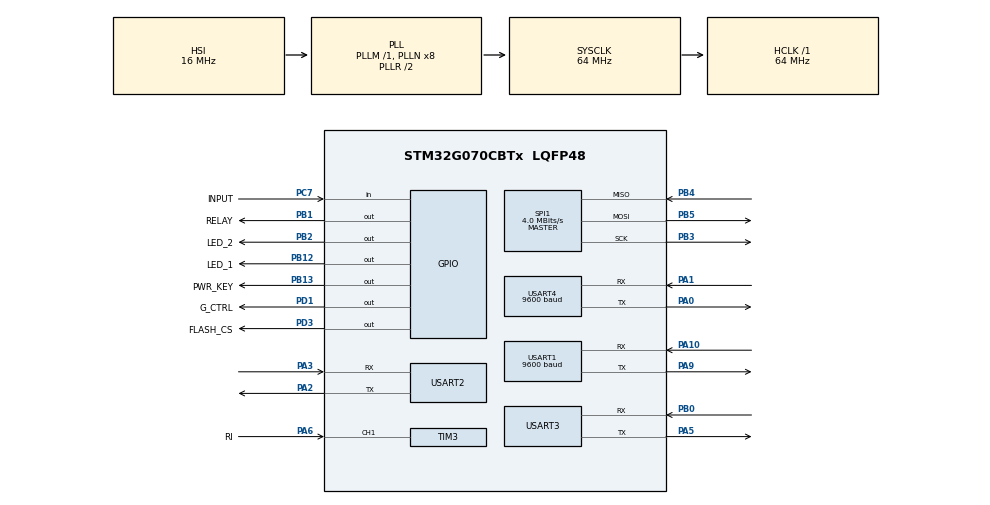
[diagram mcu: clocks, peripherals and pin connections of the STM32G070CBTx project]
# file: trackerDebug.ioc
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Dma.Request0=TIM3_CH1
Dma.TIM3_CH1.0.Direction=DMA_PERIPH_TO_MEMORY
Dma.TIM3_CH1.0.EventEnable=DISABLE
Dma.TIM3_CH1.0.Instance=DMA1_Channel1
Dma.TIM3_CH1.0.MemDataAlignment=DMA_MDATAALIGN_HALFWORD
Dma.TIM3_CH1.0.MemInc=DMA_MINC_ENABLE
Dma.TIM3_CH1.0.Mode=DMA_CIRCULAR
Dma.TIM3_CH1.0.PeriphDataAlignment=DMA_PDATAALIGN_HALFWORD
Dma.TIM3_CH1.0.PeriphInc=DMA_PINC_DISABLE
Dma.TIM3_CH1.0.Polarity=HAL_DMAMUX_REQ_GEN_RISING
Dma.TIM3_CH1.0.Priority=DMA_PRIORITY_LOW
Dma.TIM3_CH1.0.RequestNumber=1
Dma.TIM3_CH1.0.SignalID=NONE
Dma.TIM3_CH1.0.SyncEnable=DISABLE
Dma.TIM3_CH1.0.SyncPolarity=HAL_DMAMUX_SYNC_NO_EVENT
Dma.TIM3_CH1.0.SyncRequestNumber=1
Dma.TIM3_CH1.0.SyncSignalID=NONE
Mcu.Family=STM32G0
Mcu.Name=STM32G070CBTx
Mcu.Package=LQFP48
NVIC.DMA1_Channel1_IRQn=true\:0\:0\:false\:false\:true\:false\:true\:true
NVIC.SPI1_IRQn=true\:3\:0\:true\:false\:true\:true\:true\:true
NVIC.TIM14_IRQn=true\:3\:0\:true\:false\:true\:true\:true\:true
NVIC.TIM16_IRQn=true\:3\:0\:true\:false\:true\:true\:true\:true
NVIC.TIM17_IRQn=true\:3\:0\:true\:false\:true\:true\:true\:true
NVIC.TIM3_IRQn=true\:3\:0\:true\:false\:true\:true\:true\:true
NVIC.USART1_IRQn=true\:3\:0\:true\:false\:true\:true\:true\:true
NVIC.USART2_IRQn=true\:3\:0\:true\:false\:true\:true\:true\:true
NVIC.USART3_4_IRQn=true\:3\:0\:true\:false\:true\:true\:true\:true
PA0.Mode=Asynchronous
PA0.Signal=USART4_TX
PA1.Mode=Asynchronous
PA1.Signal=USART4_RX
PA10.Mode=Asynchronous
PA10.Signal=USART1_RX
PA13.Mode=Serial_Wire
PA13.Signal=SYS_SWDIO
PA14-BOOT0.Mode=Serial_Wire
PA14-BOOT0.Signal=SYS_SWCLK
PA2.Mode=Asynchronous
PA2.Signal=USART2_TX
PA3.Mode=Asynchronous
PA3.Signal=USART2_RX
PA5.Mode=Asynchronous
PA5.Signal=USART3_TX
PA6.GPIO_Label=RI
PA6.Signal=S_TIM3_CH1
PA9.Mode=Asynchronous
PA9.Signal=USART1_TX
PB0.Mode=Asynchronous
PB0.Signal=USART3_RX
PB1.GPIO_Label=RELAY
PB1.PinState=GPIO_PIN_RESET
PB1.Signal=GPIO_Output
PB12.GPIO_Label=LED_1
PB12.Signal=GPIO_Output
PB13.GPIO_Label=PWR_KEY
PB13.PinState=GPIO_PIN_RESET
PB13.Signal=GPIO_Output
PB2.GPIO_Label=LED_2
PB2.Signal=GPIO_Output
PB3.Mode=Full_Duplex_Master
PB3.Signal=SPI1_SCK
PB4.Mode=Full_Duplex_Master
PB4.Signal=SPI1_MISO
PB5.Mode=Full_Duplex_Master
PB5.Signal=SPI1_MOSI
PC7.GPIO_Label=INPUT
PC7.Signal=GPIO_Input
PD1.GPIO_Label=G_CTRL
PD1.PinState=GPIO_PIN_SET
PD1.Signal=GPIO_Output
PD3.GPIO_Label=FLASH_CS
PD3.Signal=GPIO_Output
PF0-OSC_IN\ (PF0).Mode=HSE-External-Oscillator
PF0-OSC_IN\ (PF0).Signal=RCC_OSC_IN
PF1-OSC_OUT\ (PF1).Mode=HSE-External-Oscillator
PF1-OSC_OUT\ (PF1).Signal=RCC_OSC_OUT
ProjectManager.HeapSize=0x200
ProjectManager.StackSize=0x400
ProjectManager.TargetToolchain=STM32CubeIDE
RCC.ADCFreq_Value=64000000
RCC.AHBFreq_Value=64000000
RCC.CortexFreq_Value=64000000
RCC.EXTERNAL_CLOCK_VALUE=48000
RCC.HCLKFreq_Value=64000000
RCC.HSE_VALUE=8000000
RCC.HSI_VALUE=16000000
RCC.LSE_VALUE=32768
RCC.SYSCLKFreq_VALUE=64000000
RCC.SYSCLKSource=RCC_SYSCLKSOURCE_PLLCLK
RCC.VCOOutputFreq_Value=128000000
SH.S_TIM3_CH1.0=TIM3_CH1,Input_Capture1_from_TI1
SPI1.BaudRatePrescaler=SPI_BAUDRATEPRESCALER_16
SPI1.CalculateBaudRate=4.0 MBits/s
SPI1.DataSize=SPI_DATASIZE_8BIT
SPI1.Direction=SPI_DIRECTION_2LINES
SPI1.Mode=SPI_MODE_MASTER
SPI1.VirtualType=VM_MASTER
TIM14.AutoReloadPreload=TIM_AUTORELOAD_PRELOAD_ENABLE
TIM14.Period=1000
TIM14.Prescaler=6400
TIM16.AutoReloadPreload=TIM_AUTORELOAD_PRELOAD_ENABLE
TIM16.Period=1000-1
TIM16.Prescaler=6400
TIM17.AutoReloadPreload=TIM_AUTORELOAD_PRELOAD_ENABLE
TIM17.Period=1000
TIM17.Prescaler=6400
TIM3.AutoReloadPreload=TIM_AUTORELOAD_PRELOAD_ENABLE
TIM3.Channel-Input_Capture1_from_TI1=TIM_CHANNEL_1
TIM3.ICPolarity_CH1=TIM_INPUTCHANNELPOLARITY_BOTHEDGE
TIM3.Prescaler=640
USART1.BaudRate=9600
USART1.VirtualMode-Asynchronous=VM_ASYNC
USART2.VirtualMode-Asynchronous=VM_ASYNC
USART3.VirtualMode-Asynchronous=VM_ASYNC
USART4.BaudRate=9600
USART4.VirtualMode-Asynchronous=VM_ASYNC
VP_TIM14_VS_ClockSourceINT.Mode=Enable_Timer
VP_TIM16_VS_ClockSourceINT.Mode=Enable_Timer
VP_TIM17_VS_ClockSourceINT.Mode=Enable_Timer
board=custom

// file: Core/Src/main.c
/* USER CODE BEGIN Header */
/**
  ******************************************************************************
  * @file           : main.c
  * @brief          : Main program body
  ******************************************************************************
  * @attention
  *
  * Copyright (c) 2023 STMicroelectronics.
  * All rights reserved.
  *
  * This software is licensed under terms that can be found in the LICENSE file
  * in the root directory of this software component.
  * If no LICENSE file comes with this software, it is provided AS-IS.
  *
  ******************************************************************************
  */
/* USER CODE END Header */
#include "main.h"

/* USER CODE BEGIN Includes */
#include "w25qxx.h"
/* USER CODE END Includes */

/* USER CODE BEGIN PTD */
#define TIMCLOCK   64000000
#define PRESCALAR  640
#define NUMVAL 2
/* USER CODE END PTD */

/* USER CODE BEGIN PD */
uint8_t buf1[1]; //at
uint8_t buf2[1]; //gnss
uint8_t buf3[1]; //debug
uint16_t resTimeout = 8;
uint16_t cnnt = 0;
uint16_t gCnnt = 0;
uint32_t bs;
/* USER CODE END PD */

SPI_HandleTypeDef hspi1;

TIM_HandleTypeDef htim3;
TIM_HandleTypeDef htim14;
TIM_HandleTypeDef htim16;
TIM_HandleTypeDef htim17;
DMA_HandleTypeDef hdma_tim3_ch1;

UART_HandleTypeDef huart1;
UART_HandleTypeDef huart2;
UART_HandleTypeDef huart3;
UART_HandleTypeDef huart4;

void SystemClock_Config(void);
static void MX_GPIO_Init(void);
static void MX_DMA_Init(void);
static void MX_USART1_UART_Init(void);
static void MX_USART2_UART_Init(void);
static void MX_USART4_UART_Init(void);
static void MX_TIM16_Init(void);
static void MX_SPI1_Init(void);
static void MX_TIM3_Init(void);
static void MX_USART3_UART_Init(void);
static void MX_TIM14_Init(void);
static void MX_TIM17_Init(void);

/* USER CODE BEGIN 0 */
//--------------INPUT CAPTURE RING-------------------
uint16_t Difference = 0;
int Is_First_Captured = 0;
float frequency = 0;
uint16_t usWidth = 0;
uint8_t gotIndication = 0;
uint16_t vals[NUMVAL];
//--------------INPUT CAPTURE RING-------------------
/* USER CODE END 0 */

int main(void)
{

  /* MCU Configuration--------------------------------------------------------*/

  /* Reset of all peripherals, Initializes the Flash interface and the Systick. */
  HAL_Init();

  /* Configure the system clock */
  SystemClock_Config();

  /* Initialize all configured peripherals */
  MX_GPIO_Init();
  MX_DMA_Init();
  MX_USART1_UART_Init();
  MX_USART2_UART_Init();
  MX_USART4_UART_Init();
  MX_TIM16_Init();
  MX_SPI1_Init();
  MX_TIM3_Init();
  MX_USART3_UART_Init();
  MX_TIM14_Init();
  MX_TIM17_Init();
  /* USER CODE BEGIN 2 */

//W25qxx_Init();

HAL_UART_Receive_IT(&huart1, buf1, 1);
HAL_UART_Receive_IT(&huart2, buf2, 1);
HAL_UART_Receive_IT(&huart4, buf3, 1);

// TOGGLE BLUE LED------------------------------------
HAL_GPIO_WritePin(LED_2_GPIO_Port, LED_2_Pin, 1);
HAL_Delay(1000);
HAL_GPIO_WritePin(LED_2_GPIO_Port, LED_2_Pin, 0);
//-----------------------------------------------------

//
////------Turn ON/OFF QUECTEL---------------------------------
//HAL_GPIO_WritePin(PWR_KEY_GPIO_Port, PWR_KEY_Pin, 1);
//HAL_Delay(1000);
//HAL_GPIO_WritePin(PWR_KEY_GPIO_Port, PWR_KEY_Pin, 0);
//-----------------------------------------------------------

//---------------TIMERS INIT-----------------------------------
//HAL_TIM_Base_Start_IT(&htim3);	//input capture timer.
//HAL_TIM_Base_Start_IT(&htim14);	//input capture timer.
//HAL_TIM_Base_Start_IT(&htim16);	//input capture timer.
//HAL_TIM_Base_Start_IT(&htim17);	//AT port timer.
//-------------------------------------------------------------

//--------------DMA INIT---------------------------------------
//HAL_TIM_IC_Start_DMA(&htim3, TIM_CHANNEL_1, vals, NUMVAL);
//-------------------------------------------------------------

//HAL_UART_Transmit(&huart1, "AT/r/n", 4, 100);

  /* USER CODE END 2 */

  /* Infinite loop */
  /* USER CODE BEGIN WHILE */
  while (1)
  {
//	  HAL_GPIO_WritePin(RELAY_GPIO_Port, RELAY_Pin, 1);
//	  HAL_Delay(5000);
//	  HAL_GPIO_WritePin(RELAY_GPIO_Port, RELAY_Pin, 0);
//	  HAL_Delay(2000);

    /* USER CODE END WHILE */

  }
}

void SystemClock_Config(void)
{
  RCC_OscInitTypeDef RCC_OscInitStruct = {0};
  RCC_ClkInitTypeDef RCC_ClkInitStruct = {0};

  /** Configure the main internal regulator output voltage
  */
  HAL_PWREx_ControlVoltageScaling(PWR_REGULATOR_VOLTAGE_SCALE1);

  /** Initializes the RCC Oscillators according to the specified parameters
  * in the RCC_OscInitTypeDef structure.
  */
  RCC_OscInitStruct.OscillatorType = RCC_OSCILLATORTYPE_HSI;
  RCC_OscInitStruct.HSIState = RCC_HSI_ON;
  RCC_OscInitStruct.HSIDiv = RCC_HSI_DIV1;
  RCC_OscInitStruct.HSICalibrationValue = RCC_HSICALIBRATION_DEFAULT;
  RCC_OscInitStruct.PLL.PLLState = RCC_PLL_ON;
  RCC_OscInitStruct.PLL.PLLSource = RCC_PLLSOURCE_HSI;
  RCC_OscInitStruct.PLL.PLLM = RCC_PLLM_DIV1;
  RCC_OscInitStruct.PLL.PLLN = 8;
  RCC_OscInitStruct.PLL.PLLP = RCC_PLLP_DIV2;
  RCC_OscInitStruct.PLL.PLLR = RCC_PLLR_DIV2;
  if (HAL_RCC_OscConfig(&RCC_OscInitStruct) != HAL_OK)
  {
    Error_Handler();
  }

  /** Initializes the CPU, AHB and APB buses clocks
  */
  RCC_ClkInitStruct.ClockType = RCC_CLOCKTYPE_HCLK|RCC_CLOCKTYPE_SYSCLK
                              |RCC_CLOCKTYPE_PCLK1;
  RCC_ClkInitStruct.SYSCLKSource = RCC_SYSCLKSOURCE_PLLCLK;
  RCC_ClkInitStruct.AHBCLKDivider = RCC_SYSCLK_DIV1;
  RCC_ClkInitStruct.APB1CLKDivider = RCC_HCLK_DIV1;

  if (HAL_RCC_ClockConfig(&RCC_ClkInitStruct, FLASH_LATENCY_2) != HAL_OK)
  {
    Error_Handler();
  }
}

static void MX_SPI1_Init(void)
{

  /* SPI1 parameter configuration*/
  hspi1.Instance = SPI1;
  hspi1.Init.Mode = SPI_MODE_MASTER;
  hspi1.Init.Direction = SPI_DIRECTION_2LINES;
  hspi1.Init.DataSize = SPI_DATASIZE_8BIT;
  hspi1.Init.CLKPolarity = SPI_POLARITY_LOW;
  hspi1.Init.CLKPhase = SPI_PHASE_1EDGE;
  hspi1.Init.NSS = SPI_NSS_SOFT;
  hspi1.Init.BaudRatePrescaler = SPI_BAUDRATEPRESCALER_16;
  hspi1.Init.FirstBit = SPI_FIRSTBIT_MSB;
  hspi1.Init.TIMode = SPI_TIMODE_DISABLE;
  hspi1.Init.CRCCalculation = SPI_CRCCALCULATION_DISABLE;
  hspi1.Init.CRCPolynomial = 7;
  hspi1.Init.CRCLength = SPI_CRC_LENGTH_DATASIZE;
  hspi1.Init.NSSPMode = SPI_NSS_PULSE_ENABLE;
  if (HAL_SPI_Init(&hspi1) != HAL_OK)
  {
    Error_Handler();
  }

}

static void MX_TIM3_Init(void)
{

  TIM_MasterConfigTypeDef sMasterConfig = {0};
  TIM_IC_InitTypeDef sConfigIC = {0};

  htim3.Instance = TIM3;
  htim3.Init.Prescaler = 640;
  htim3.Init.CounterMode = TIM_COUNTERMODE_UP;
  htim3.Init.Period = 65535;
  htim3.Init.ClockDivision = TIM_CLOCKDIVISION_DIV1;
  htim3.Init.AutoReloadPreload = TIM_AUTORELOAD_PRELOAD_ENABLE;
  if (HAL_TIM_IC_Init(&htim3) != HAL_OK)
  {
    Error_Handler();
  }
  sMasterConfig.MasterOutputTrigger = TIM_TRGO_RESET;
  sMasterConfig.MasterSlaveMode = TIM_MASTERSLAVEMODE_DISABLE;
  if (HAL_TIMEx_MasterConfigSynchronization(&htim3, &sMasterConfig) != HAL_OK)
  {
    Error_Handler();
  }
  sConfigIC.ICPolarity = TIM_INPUTCHANNELPOLARITY_BOTHEDGE;
  sConfigIC.ICSelection = TIM_ICSELECTION_DIRECTTI;
  sConfigIC.ICPrescaler = TIM_ICPSC_DIV1;
  sConfigIC.ICFilter = 0;
  if (HAL_TIM_IC_ConfigChannel(&htim3, &sConfigIC, TIM_CHANNEL_1) != HAL_OK)
  {
    Error_Handler();
  }

}

static void MX_TIM14_Init(void)
{

  htim14.Instance = TIM14;
  htim14.Init.Prescaler = 6400;
  htim14.Init.CounterMode = TIM_COUNTERMODE_UP;
  htim14.Init.Period = 1000;
  htim14.Init.ClockDivision = TIM_CLOCKDIVISION_DIV1;
  htim14.Init.AutoReloadPreload = TIM_AUTORELOAD_PRELOAD_ENABLE;
  if (HAL_TIM_Base_Init(&htim14) != HAL_OK)
  {
    Error_Handler();
  }

}

static void MX_TIM16_Init(void)
{

  htim16.Instance = TIM16;
  htim16.Init.Prescaler = 6400;
  htim16.Init.CounterMode = TIM_COUNTERMODE_UP;
  htim16.Init.Period = 1000-1;
  htim16.Init.ClockDivision = TIM_CLOCKDIVISION_DIV1;
  htim16.Init.RepetitionCounter = 0;
  htim16.Init.AutoReloadPreload = TIM_AUTORELOAD_PRELOAD_ENABLE;
  if (HAL_TIM_Base_Init(&htim16) != HAL_OK)
  {
    Error_Handler();
  }

}

static void MX_TIM17_Init(void)
{

  htim17.Instance = TIM17;
  htim17.Init.Prescaler = 6400;
  htim17.Init.CounterMode = TIM_COUNTERMODE_UP;
  htim17.Init.Period = 1000;
  htim17.Init.ClockDivision = TIM_CLOCKDIVISION_DIV1;
  htim17.Init.RepetitionCounter = 0;
  htim17.Init.AutoReloadPreload = TIM_AUTORELOAD_PRELOAD_ENABLE;
  if (HAL_TIM_Base_Init(&htim17) != HAL_OK)
  {
    Error_Handler();
  }

}

static void MX_USART1_UART_Init(void)
{

  huart1.Instance = USART1;
  huart1.Init.BaudRate = 9600;
  huart1.Init.WordLength = UART_WORDLENGTH_8B;
  huart1.Init.StopBits = UART_STOPBITS_1;
  huart1.Init.Parity = UART_PARITY_NONE;
  huart1.Init.Mode = UART_MODE_TX_RX;
  huart1.Init.HwFlowCtl = UART_HWCONTROL_NONE;
  huart1.Init.OverSampling = UART_OVERSAMPLING_16;
  huart1.Init.OneBitSampling = UART_ONE_BIT_SAMPLE_DISABLE;
  huart1.Init.ClockPrescaler = UART_PRESCALER_DIV1;
  huart1.AdvancedInit.AdvFeatureInit = UART_ADVFEATURE_NO_INIT;
  if (HAL_UART_Init(&huart1) != HAL_OK)
  {
    Error_Handler();
  }
  if (HAL_UARTEx_SetTxFifoThreshold(&huart1, UART_TXFIFO_THRESHOLD_1_8) != HAL_OK)
  {
    Error_Handler();
  }
  if (HAL_UARTEx_SetRxFifoThreshold(&huart1, UART_RXFIFO_THRESHOLD_1_8) != HAL_OK)
  {
    Error_Handler();
  }
  if (HAL_UARTEx_DisableFifoMode(&huart1) != HAL_OK)
  {
    Error_Handler();
  }

}

static void MX_USART2_UART_Init(void)
{

  huart2.Instance = USART2;
  huart2.Init.BaudRate = 115200;
  huart2.Init.WordLength = UART_WORDLENGTH_8B;
  huart2.Init.StopBits = UART_STOPBITS_1;
  huart2.Init.Parity = UART_PARITY_NONE;
  huart2.Init.Mode = UART_MODE_TX_RX;
  huart2.Init.HwFlowCtl = UART_HWCONTROL_NONE;
  huart2.Init.OverSampling = UART_OVERSAMPLING_16;
  huart2.Init.OneBitSampling = UART_ONE_BIT_SAMPLE_DISABLE;
  huart2.Init.ClockPrescaler = UART_PRESCALER_DIV1;
  huart2.AdvancedInit.AdvFeatureInit = UART_ADVFEATURE_NO_INIT;
  if (HAL_UART_Init(&huart2) != HAL_OK)
  {
    Error_Handler();
  }
  if (HAL_UARTEx_SetTxFifoThreshold(&huart2, UART_TXFIFO_THRESHOLD_1_8) != HAL_OK)
  {
    Error_Handler();
  }
  if (HAL_UARTEx_SetRxFifoThreshold(&huart2, UART_RXFIFO_THRESHOLD_1_8) != HAL_OK)
  {
    Error_Handler();
  }
  if (HAL_UARTEx_DisableFifoMode(&huart2) != HAL_OK)
  {
    Error_Handler();
  }

}

static void MX_USART3_UART_Init(void)
{

  huart3.Instance = USART3;
  huart3.Init.BaudRate = 115200;
  huart3.Init.WordLength = UART_WORDLENGTH_8B;
  huart3.Init.StopBits = UART_STOPBITS_1;
  huart3.Init.Parity = UART_PARITY_NONE;
  huart3.Init.Mode = UART_MODE_TX_RX;
  huart3.Init.HwFlowCtl = UART_HWCONTROL_NONE;
  huart3.Init.OverSampling = UART_OVERSAMPLING_16;
  huart3.Init.OneBitSampling = UART_ONE_BIT_SAMPLE_DISABLE;
  huart3.Init.ClockPrescaler = UART_PRESCALER_DIV1;
  huart3.AdvancedInit.AdvFeatureInit = UART_ADVFEATURE_NO_INIT;
  if (HAL_UART_Init(&huart3) != HAL_OK)
  {
    Error_Handler();
  }

}

static void MX_USART4_UART_Init(void)
{

  huart4.Instance = USART4;
  huart4.Init.BaudRate = 9600;
  huart4.Init.WordLength = UART_WORDLENGTH_8B;
  huart4.Init.StopBits = UART_STOPBITS_1;
  huart4.Init.Parity = UART_PARITY_NONE;
  huart4.Init.Mode = UART_MODE_TX_RX;
  huart4.Init.HwFlowCtl = UART_HWCONTROL_NONE;
  huart4.Init.OverSampling = UART_OVERSAMPLING_16;
  huart4.Init.OneBitSampling = UART_ONE_BIT_SAMPLE_DISABLE;
  huart4.Init.ClockPrescaler = UART_PRESCALER_DIV1;
  huart4.AdvancedInit.AdvFeatureInit = UART_ADVFEATURE_NO_INIT;
  if (HAL_UART_Init(&huart4) != HAL_OK)
  {
    Error_Handler();
  }

}

static void MX_DMA_Init(void)
{

  /* DMA controller clock enable */
  __HAL_RCC_DMA1_CLK_ENABLE();

  /* DMA interrupt init */
  /* DMA1_Channel1_IRQn interrupt configuration */
  HAL_NVIC_SetPriority(DMA1_Channel1_IRQn, 0, 0);
  HAL_NVIC_EnableIRQ(DMA1_Channel1_IRQn);

}

static void MX_GPIO_Init(void)
{
  GPIO_InitTypeDef GPIO_InitStruct = {0};

  /* GPIO Ports Clock Enable */
  __HAL_RCC_GPIOF_CLK_ENABLE();
  __HAL_RCC_GPIOA_CLK_ENABLE();
  __HAL_RCC_GPIOB_CLK_ENABLE();
  __HAL_RCC_GPIOC_CLK_ENABLE();
  __HAL_RCC_GPIOD_CLK_ENABLE();

  /*Configure GPIO pin Output Level */
  HAL_GPIO_WritePin(GPIOB, RELAY_Pin|LED_2_Pin|LED_1_Pin|PWR_KEY_Pin, GPIO_PIN_RESET);

  /*Configure GPIO pin Output Level */
  HAL_GPIO_WritePin(G_CTRL_GPIO_Port, G_CTRL_Pin, GPIO_PIN_SET);

  /*Configure GPIO pin Output Level */
  HAL_GPIO_WritePin(FLASH_CS_GPIO_Port, FLASH_CS_Pin, GPIO_PIN_RESET);

  /*Configure GPIO pins : RELAY_Pin LED_2_Pin LED_1_Pin PWR_KEY_Pin */
  GPIO_InitStruct.Pin = RELAY_Pin|LED_2_Pin|LED_1_Pin|PWR_KEY_Pin;
  GPIO_InitStruct.Mode = GPIO_MODE_OUTPUT_PP;
  GPIO_InitStruct.Pull = GPIO_NOPULL;
  GPIO_InitStruct.Speed = GPIO_SPEED_FREQ_LOW;
  HAL_GPIO_Init(GPIOB, &GPIO_InitStruct);

  /*Configure GPIO pin : INPUT_Pin */
  GPIO_InitStruct.Pin = INPUT_Pin;
  GPIO_InitStruct.Mode = GPIO_MODE_INPUT;
  GPIO_InitStruct.Pull = GPIO_NOPULL;
  HAL_GPIO_Init(INPUT_GPIO_Port, &GPIO_InitStruct);

  /*Configure GPIO pins : G_CTRL_Pin FLASH_CS_Pin */
  GPIO_InitStruct.Pin = G_CTRL_Pin|FLASH_CS_Pin;
  GPIO_InitStruct.Mode = GPIO_MODE_OUTPUT_PP;
  GPIO_InitStruct.Pull = GPIO_NOPULL;
  GPIO_InitStruct.Speed = GPIO_SPEED_FREQ_LOW;
  HAL_GPIO_Init(GPIOD, &GPIO_InitStruct);

}

/* USER CODE BEGIN 4 */

void HAL_UART_RxCpltCallback(UART_HandleTypeDef *huart){

	if(huart == &huart1){
		//AT RECV
		//----------TOGGLE RED LED--------------------------
		HAL_GPIO_TogglePin(LED_1_GPIO_Port, LED_1_Pin);
		//----------------------------------------------------
//
//		cnnt++;
//		if(cnnt>0xfffa){
//			cnnt = 0;
//		}
		HAL_UART_Receive_IT(&huart1, buf1, 1);
		HAL_UART_Transmit(&huart4, buf1, 1, 100);
	}
//	else if(huart == &huart2){
//		//GNSS RECV
//		gCnnt ++;
//		if(gCnnt>0xfffa){
//			gCnnt = 0;
//		}
//		HAL_UART_Receive_IT(&huart2, buf2, 1);
//
//	}
	else if(huart == &huart4){
		//DEBUG
		HAL_UART_Receive_IT(&huart4, buf3, 1);
		HAL_UART_Transmit(&huart1, buf3, 1, 100);
	}
}

//void HAL_TIM_PeriodElapsedCallback(TIM_HandleTypeDef *htim) {
//
//	if (htim == &htim16) {
////		HAL_GPIO_TogglePin(LED_2_GPIO_Port, LED_2_Pin);
////		resTimeout--;
//		if(resTimeout<1){
////			NVIC_SystemReset();
//		}
//	}
//}

//INPUT CAPTURE---------------------------
//void HAL_TIM_IC_CaptureCallback(TIM_HandleTypeDef *htim) {
//	if (1 == 1) {
//		if (htim->Channel == HAL_TIM_ACTIVE_CHANNEL_1) { // if the interrupt source is channel1
//			uint16_t IC_Val1, IC_Val2;
//			IC_Val1 = vals[0];
//			IC_Val2 = vals[1];
//			if (IC_Val2 > IC_Val1) {
//				Difference = IC_Val2 - IC_Val1;
//			} else if (IC_Val1 > IC_Val2) {
//				Difference = (0xffff - IC_Val1) + IC_Val2;
//			}
//			float refClock = TIMCLOCK / (PRESCALAR);
//			float mFactor = 1000 / refClock;
//			usWidth = Difference * mFactor;
//			if (usWidth > 100 && usWidth < 200) {
//				//printf("Got message indication\n");
////				isPulse = 1;
//			}
//		}
//	}
//}
//----------------------------------------------

//
//void HAL_UART_ErrorCallback(UART_HandleTypeDef *huart) {
//	if (huart->Instance == USART1) {
//		bs=huart->ErrorCode;
//		MX_USART1_UART_Init();
//		HAL_UART_Receive_IT(&huart1, buf1, 1);
//
//	}
////	 if (huart->ErrorCode & HAL_UART_ERROR_PE) {
////	    // parity error
////	  }
////	  if (huart->ErrorCode & HAL_UART_ERROR_FE) {
////	    // frame error
////	  }
//}

/* USER CODE END 4 */

void Error_Handler(void)
{
  __disable_irq();
  while (1)
  {
  }
}
